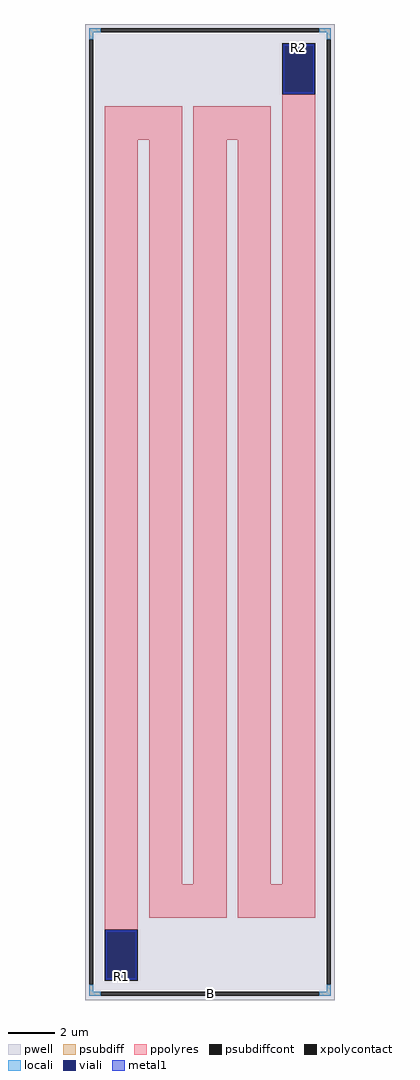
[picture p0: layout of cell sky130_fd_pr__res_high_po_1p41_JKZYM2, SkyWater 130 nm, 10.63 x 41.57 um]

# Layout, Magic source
magic
tech sky130A
magscale 1 2
<< pwell >>
rect -1063 -4157 1063 4157
<< psubdiff >>
rect -1027 4087 -931 4121
rect 931 4087 1027 4121
rect -1027 4025 -993 4087
rect 993 4025 1027 4087
rect -1027 -4087 -993 -4025
rect 993 -4087 1027 -4025
rect -1027 -4121 -931 -4087
rect 931 -4121 1027 -4087
<< psubdiffcont >>
rect -931 4087 931 4121
rect -1027 -4025 -993 4025
rect 993 -4025 1027 4025
rect -931 -4121 931 -4087
<< xpolycontact >>
rect 615 3559 897 3991
rect -897 -3991 -615 -3559
<< ppolyres >>
rect -897 3173 -237 3455
rect -897 -3559 -615 3173
rect -519 -3173 -237 3173
rect -141 3173 519 3455
rect -141 -3173 141 3173
rect -519 -3455 141 -3173
rect 237 -3173 519 3173
rect 615 -3173 897 3559
rect 237 -3455 897 -3173
<< locali >>
rect -1027 4087 -931 4121
rect 931 4087 1027 4121
rect -1027 4025 -993 4087
rect 993 4025 1027 4087
rect -1027 -4087 -993 -4025
rect 993 -4087 1027 -4025
rect -1027 -4121 -931 -4087
rect 931 -4121 1027 -4087
<< viali >>
rect 631 3576 881 3973
rect -881 -3973 -631 -3576
<< metal1 >>
rect 625 3973 887 3985
rect 625 3576 631 3973
rect 881 3576 887 3973
rect 625 3564 887 3576
rect -887 -3576 -625 -3564
rect -887 -3973 -881 -3576
rect -631 -3973 -625 -3576
rect -887 -3985 -625 -3973
<< labels >>
rlabel psubdiffcont 0 -4104 0 -4104 0 B
port 1 nsew
rlabel xpolycontact -756 -3956 -756 -3956 0 R1
port 2 nsew
rlabel xpolycontact 756 3956 756 3956 0 R2
port 3 nsew
<< properties >>
string FIXED_BBOX -1010 -4104 1010 4104
string gencell sky130_fd_pr__res_high_po_1p41
string library sky130
string parameters w 1.41 l 34.550000000000004 m 1 nx 5 wmin 1.410 lmin 0.50 class resistor rho 319.8 val 40.736k dummy 0 dw 0.0 term 194.82 sterm 0.0 caplen 0 guard 1 glc 1 grc 1 gtc 1 gbc 1 compatible {sky130_fd_pr__res_high_po_0p35  sky130_fd_pr__res_high_po_0p69 sky130_fd_pr__res_high_po_1p41  sky130_fd_pr__res_high_po_2p85 sky130_fd_pr__res_high_po_5p73} snake 1 full_metal 1 wmax 1.410 n_guard 0 hv_guard 0 vias 1 viagb 0 viagt 0 viagl 0 viagr 0 doports 1
<< end >>
